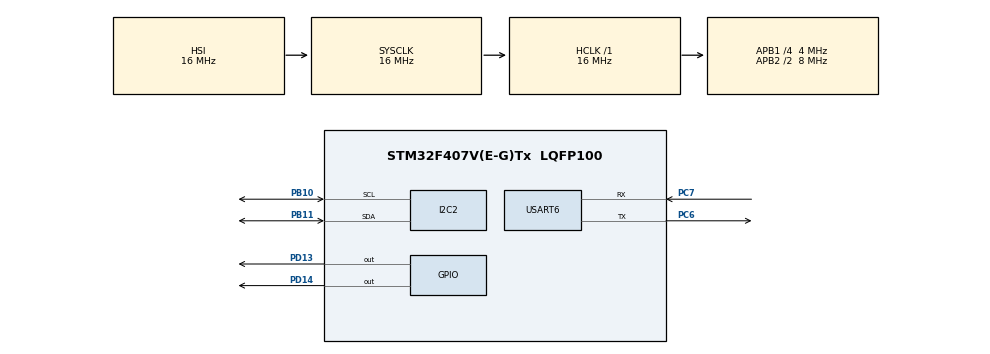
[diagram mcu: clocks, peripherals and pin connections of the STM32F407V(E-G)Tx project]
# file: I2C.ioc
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Mcu.Family=STM32F4
Mcu.Name=STM32F407V(E-G)Tx
Mcu.Package=LQFP100
NVIC.PriorityGroup=NVIC_PRIORITYGROUP_0
PA13.Mode=Serial_Wire
PA13.Signal=SYS_JTMS-SWDIO
PA14.Mode=Serial_Wire
PA14.Signal=SYS_JTCK-SWCLK
PB10.GPIO_Pu=GPIO_PULLUP
PB10.Mode=I2C
PB10.Signal=I2C2_SCL
PB11.GPIO_Pu=GPIO_PULLUP
PB11.Mode=I2C
PB11.Signal=I2C2_SDA
PC6.Mode=Asynchronous
PC6.Signal=USART6_TX
PC7.Mode=Asynchronous
PC7.Signal=USART6_RX
PD13.Signal=GPIO_Output
PD14.Signal=GPIO_Output
ProjectManager.HeapSize=0x200
ProjectManager.StackSize=0x400
ProjectManager.TargetToolchain=MDK-ARM V5.27
RCC.48MHZClocksFreq_Value=14285714.285714285
RCC.AHBFreq_Value=16000000
RCC.APB1CLKDivider=RCC_HCLK_DIV4
RCC.APB1Freq_Value=4000000
RCC.APB1TimFreq_Value=8000000
RCC.APB2CLKDivider=RCC_HCLK_DIV2
RCC.APB2Freq_Value=8000000
RCC.APB2TimFreq_Value=16000000
RCC.CortexFreq_Value=16000000
RCC.HCLKFreq_Value=16000000
RCC.HSE_VALUE=8000000
RCC.HSI_VALUE=16000000
RCC.LSE_VALUE=32768
RCC.PLLM=8
RCC.PLLN=50
RCC.PLLP=RCC_PLLP_DIV4
RCC.PLLQ=7
RCC.SYSCLKFreq_VALUE=16000000
RCC.VCOOutputFreq_Value=100000000
USART6.VirtualMode=VM_ASYNC
board=STM32F407G-DISC1

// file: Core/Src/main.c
/* USER CODE BEGIN Header */
/**
  ******************************************************************************
  * @file           : main.c
  * @brief          : Main program body
  ******************************************************************************
  * @attention
  *
  * <h2><center>&copy; Copyright (c) 2022 STMicroelectronics.
  * All rights reserved.</center></h2>
  *
  * This software component is licensed by ST under BSD 3-Clause license,
  * the "License"; You may not use this file except in compliance with the
  * License. You may obtain a copy of the License at:
  *                        opensource.org/licenses/BSD-3-Clause
  *
  ******************************************************************************
  */
/* USER CODE END Header */
#include "main.h"
#include <stdio.h>

I2C_HandleTypeDef hi2c2;

UART_HandleTypeDef huart6;

void SystemClock_Config(void);
static void MX_GPIO_Init(void);
static void MX_I2C2_Init(void);
static void MX_USART6_UART_Init(void);

/* USER CODE BEGIN 0 */
	char data[2];
	uint8_t Cmd[2];
	char buff[50],Buf[50];
	uint16_t d,i2c_status;
	uint16_t temp,rhumidity;
/* USER CODE END 0 */

int main(void)
{

  /* MCU Configuration--------------------------------------------------------*/

  /* Reset of all peripherals, Initializes the Flash interface and the Systick. */
  HAL_Init();

  /* Configure the system clock */
  SystemClock_Config();

  /* Initialize all configured peripherals */
  MX_GPIO_Init();
  MX_I2C2_Init();
  MX_USART6_UART_Init();
  /* USER CODE BEGIN 2 */
 Cmd[0]=0xFE;    //soft reset
  Cmd[1]=0xF3;   //Trigger T Measurment (no hold master)
	if(HAL_I2C_IsDeviceReady(&hi2c2,0x80,5,100)==HAL_OK)
	{
		for (int i=0;i<3;i++)
		{
		HAL_GPIO_TogglePin(GPIOD,GPIO_PIN_14);
		HAL_Delay(1000);
		}
	}
  /* USER CODE END 2 */

  /* Infinite loop */
  /* USER CODE BEGIN WHILE */
  while (1)
  {
		HAL_I2C_Master_Transmit(&hi2c2,0x80,&Cmd[1],1,1000);
		HAL_Delay(100);
		HAL_I2C_Master_Receive(&hi2c2,0x80,(uint8_t*)data,2,100);

		d=(data[0]<<8) + data[1];
		temp=(-46.85+(0.0026*d));

		Cmd[1]=0xF5; // Trigger RH measurment   (no hold master)
    HAL_I2C_Master_Transmit(&hi2c2,0x80,&Cmd[1],1,1000);
    HAL_Delay(100);
	  HAL_I2C_Master_Receive(&hi2c2,0x80,(uint8_t*)data,2,100);

    d=(data[0]<<8) + data[1];
		rhumidity= -6+(0.0019*d);
		HAL_GPIO_TogglePin(GPIOD,GPIO_PIN_13);

		HAL_Delay(1000);

				HAL_UART_Transmit(&huart6,(uint8_t *)buff,sprintf(buff,"Temp = %d\r\n",temp),1000);
	HAL_UART_Transmit(&huart6,(uint8_t *)Buf,sprintf(Buf,"RH = %d\r\n",rhumidity),1000);
		HAL_Delay(500);
    /* USER CODE END WHILE */

//    /* USER CODE BEGIN 3 */
 }
//  /* USER CODE END 3 */
}

void SystemClock_Config(void)
{
  RCC_OscInitTypeDef RCC_OscInitStruct = {0};
  RCC_ClkInitTypeDef RCC_ClkInitStruct = {0};

  /** Configure the main internal regulator output voltage
  */
  __HAL_RCC_PWR_CLK_ENABLE();
  __HAL_PWR_VOLTAGESCALING_CONFIG(PWR_REGULATOR_VOLTAGE_SCALE1);
  /** Initializes the RCC Oscillators according to the specified parameters
  * in the RCC_OscInitTypeDef structure.
  */
  RCC_OscInitStruct.OscillatorType = RCC_OSCILLATORTYPE_HSI;
  RCC_OscInitStruct.HSIState = RCC_HSI_ON;
  RCC_OscInitStruct.HSICalibrationValue = RCC_HSICALIBRATION_DEFAULT;
  RCC_OscInitStruct.PLL.PLLState = RCC_PLL_NONE;
  if (HAL_RCC_OscConfig(&RCC_OscInitStruct) != HAL_OK)
  {
    Error_Handler();
  }
  /** Initializes the CPU, AHB and APB buses clocks
  */
  RCC_ClkInitStruct.ClockType = RCC_CLOCKTYPE_HCLK|RCC_CLOCKTYPE_SYSCLK
                              |RCC_CLOCKTYPE_PCLK1|RCC_CLOCKTYPE_PCLK2;
  RCC_ClkInitStruct.SYSCLKSource = RCC_SYSCLKSOURCE_HSI;
  RCC_ClkInitStruct.AHBCLKDivider = RCC_SYSCLK_DIV1;
  RCC_ClkInitStruct.APB1CLKDivider = RCC_HCLK_DIV4;
  RCC_ClkInitStruct.APB2CLKDivider = RCC_HCLK_DIV2;

  if (HAL_RCC_ClockConfig(&RCC_ClkInitStruct, FLASH_LATENCY_0) != HAL_OK)
  {
    Error_Handler();
  }
}

static void MX_I2C2_Init(void)
{

  hi2c2.Instance = I2C2;
  hi2c2.Init.ClockSpeed = 100000;
  hi2c2.Init.DutyCycle = I2C_DUTYCYCLE_2;
  hi2c2.Init.OwnAddress1 = 0;
  hi2c2.Init.AddressingMode = I2C_ADDRESSINGMODE_7BIT;
  hi2c2.Init.DualAddressMode = I2C_DUALADDRESS_DISABLE;
  hi2c2.Init.OwnAddress2 = 0;
  hi2c2.Init.GeneralCallMode = I2C_GENERALCALL_DISABLE;
  hi2c2.Init.NoStretchMode = I2C_NOSTRETCH_DISABLE;
  if (HAL_I2C_Init(&hi2c2) != HAL_OK)
  {
    Error_Handler();
  }

}

static void MX_USART6_UART_Init(void)
{

  huart6.Instance = USART6;
  huart6.Init.BaudRate = 115200;
  huart6.Init.WordLength = UART_WORDLENGTH_8B;
  huart6.Init.StopBits = UART_STOPBITS_1;
  huart6.Init.Parity = UART_PARITY_NONE;
  huart6.Init.Mode = UART_MODE_TX_RX;
  huart6.Init.HwFlowCtl = UART_HWCONTROL_NONE;
  huart6.Init.OverSampling = UART_OVERSAMPLING_16;
  if (HAL_UART_Init(&huart6) != HAL_OK)
  {
    Error_Handler();
  }

}

static void MX_GPIO_Init(void)
{
  GPIO_InitTypeDef GPIO_InitStruct = {0};

  /* GPIO Ports Clock Enable */
  __HAL_RCC_GPIOB_CLK_ENABLE();
  __HAL_RCC_GPIOD_CLK_ENABLE();
  __HAL_RCC_GPIOC_CLK_ENABLE();
  __HAL_RCC_GPIOA_CLK_ENABLE();

  /*Configure GPIO pin Output Level */
  HAL_GPIO_WritePin(GPIOD, GPIO_PIN_13|GPIO_PIN_14, GPIO_PIN_RESET);

  /*Configure GPIO pins : PD13 PD14 */
  GPIO_InitStruct.Pin = GPIO_PIN_13|GPIO_PIN_14;
  GPIO_InitStruct.Mode = GPIO_MODE_OUTPUT_PP;
  GPIO_InitStruct.Pull = GPIO_NOPULL;
  GPIO_InitStruct.Speed = GPIO_SPEED_FREQ_LOW;
  HAL_GPIO_Init(GPIOD, &GPIO_InitStruct);

}

void Error_Handler(void)
{
  __disable_irq();
  while (1)
  {
  }
}

/************************ (C) COPYRIGHT STMicroelectronics *****END OF FILE****/
